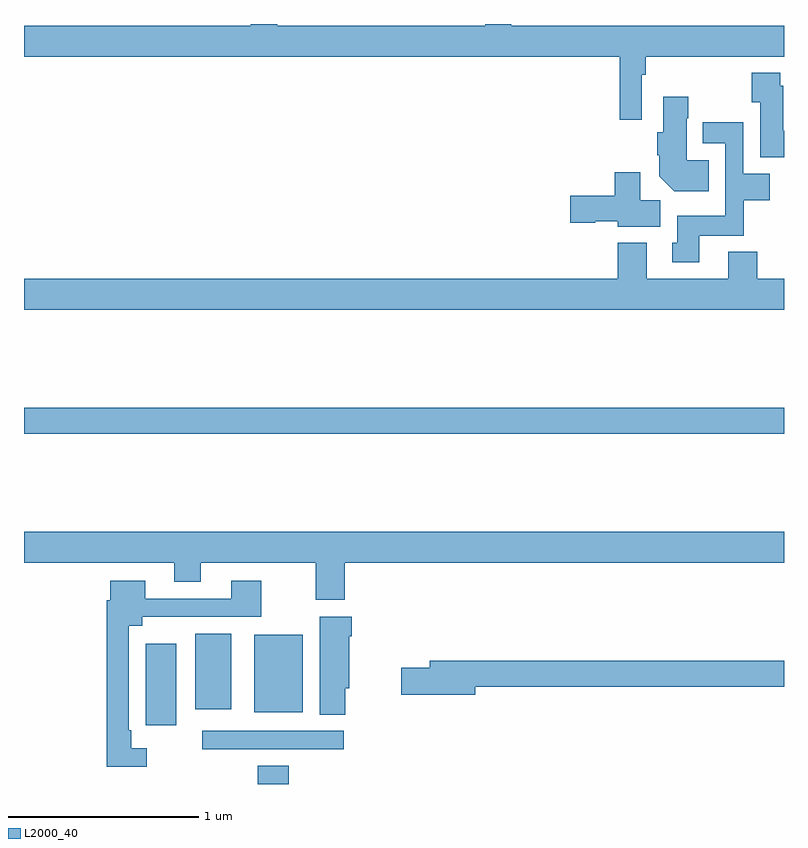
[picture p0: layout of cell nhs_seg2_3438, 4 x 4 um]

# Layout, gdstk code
import gdstk
lib = gdstk.Library(unit=1e-6, precision=1e-09)
def R(c, l, rs):  # rectangles x0, y0, x1, y1
    for r in rs: c.add(gdstk.rectangle(r[:2], r[2:], *l))
def P(c, l, *ps):  # polygons
    for p in ps: c.add(gdstk.Polygon(p, *l))
L2000_40 = (2000, 40)

nhs_seg2_3438 = lib.new_cell('nhs_seg2_3438')
R(nhs_seg2_3438, L2000_40, [(292.229,651.8,292.394,651.895), (291.939,651.984,292.684,652.08), (291.641,652.11,291.802,652.537), (292.211,652.178,292.468,652.585), (291.902,652.193,292.09,652.591), (291,653.644,295,653.78)])
P(nhs_seg2_3438, L2000_40, [(294.252,655.532),(294.272,655.532),(294.272,655.628),(295,655.628),(295,655.792),(293.564,655.792),(293.564,655.8),(293.428,655.8),(293.428,655.792),(292.333,655.792),(292.333,655.8),(292.193,655.8),(292.193,655.792),(291,655.792),(291,655.628),(294.136,655.628),(294.136,655.296),(294.252,655.296)],
  [(295,655.239),(294.997,655.239),(294.997,655.476),(294.981,655.476),(294.981,655.543),(294.829,655.543),(294.829,655.387),(294.875,655.387),(294.875,655.1),(295,655.1)],
  [(294.605,655.084),(294.487,655.084),(294.487,655.304),(294.495,655.304),(294.495,655.417),(294.365,655.417),(294.365,655.23),(294.332,655.23),(294.332,655.108),(294.344,655.108),(294.344,654.998),(294.422,654.92),(294.605,654.92)],
  [(294.553,654.686),(294.789,654.686),(294.789,654.872),(294.925,654.872),(294.925,655.012),(294.786,655.012),(294.786,655.282),(294.573,655.282),(294.573,655.173),(294.69,655.173),(294.69,654.79),(294.437,654.79),(294.437,654.648),(294.413,654.648),(294.413,654.546),(294.553,654.546)],
  [(294.349,654.872),(294.244,654.872),(294.244,655.021),(294.11,655.021),(294.11,654.896),(293.874,654.896),(293.874,654.754),(294.006,654.754),(294.006,654.761),(294.126,654.761),(294.126,654.734),(294.349,654.734)],
  [(295,654.46),(294.86,654.46),(294.86,654.601),(294.707,654.601),(294.707,654.46),(294.277,654.46),(294.277,654.649),(294.125,654.649),(294.125,654.46),(291,654.46),(291,654.296),(295,654.296)],
  [(292.688,652.964),(295,652.964),(295,653.128),(291,653.128),(291,652.964),(291.791,652.964),(291.791,652.865),(291.931,652.865),(291.931,652.964),(292.535,652.964),(292.535,652.77),(292.688,652.77)],
  [(291.646,651.987),(291.564,651.987),(291.564,652.084),(291.552,652.084),(291.552,652.634),(291.622,652.634),(291.622,652.68),(292.249,652.68),(292.249,652.87),(292.091,652.87),(292.091,652.776),(291.637,652.776),(291.637,652.87),(291.455,652.87),(291.455,652.766),(291.436,652.766),(291.436,651.891),(291.646,651.891)],
  [(292.69,652.305),(292.711,652.305),(292.711,652.577),(292.724,652.577),(292.724,652.681),(292.556,652.681),(292.556,652.165),(292.69,652.165)],
  [(293.374,652.312),(295,652.312),(295,652.448),(293.135,652.448),(293.135,652.412),(292.986,652.412),(292.986,652.27),(293.374,652.27)])

lib.write_gds('nhs_seg2_3438.gds')
